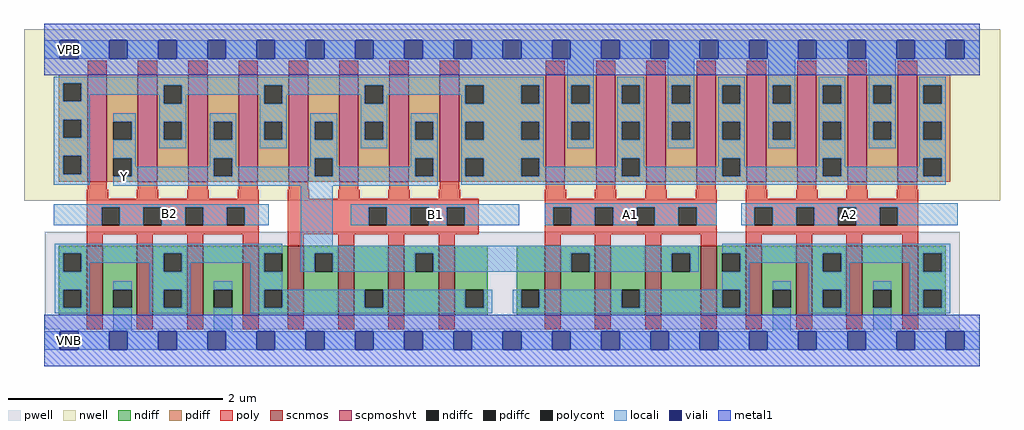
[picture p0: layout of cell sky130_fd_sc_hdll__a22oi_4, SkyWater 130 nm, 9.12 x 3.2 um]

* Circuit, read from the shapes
.subckt sky130_fd_sc_hdll__a22oi_4 A1 A2 B1 B2 VGND VNB VPB VPWR Y
XM1 VGND B2 n1 VNB sky130_fd_pr__nfet_01v8 w=0.65 l=0.15 m=4
XM2 Y B1 n1 VNB sky130_fd_pr__nfet_01v8 w=0.65 l=0.15 m=4
XM3 Y A1 n2 VNB sky130_fd_pr__nfet_01v8 w=0.65 l=0.15 m=4
XM4 VGND A2 n2 VNB sky130_fd_pr__nfet_01v8 w=0.65 l=0.15 m=4
XM5 Y B2 n3 VPB sky130_fd_pr__pfet_01v8_hvt w=1 l=0.18 m=4
XM6 Y B1 n3 VPB sky130_fd_pr__pfet_01v8_hvt w=1 l=0.18 m=4
XM7 VPWR A1 n3 VPB sky130_fd_pr__pfet_01v8_hvt w=1 l=0.18 m=4
XM8 VPWR A2 n3 VPB sky130_fd_pr__pfet_01v8_hvt w=1 l=0.18 m=4
.ends

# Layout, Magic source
magic
tech sky130A
magscale 1 2
<< nwell >>
rect -38 261 1786 582
<< pwell >>
rect 1 21 1711 203
rect 30 -17 64 21
<< scnmos >>
rect 79 47 109 177
rect 173 47 203 177
rect 267 47 297 177
rect 371 47 401 177
rect 455 47 485 177
rect 549 47 579 177
rect 643 47 673 177
rect 737 47 767 177
rect 935 47 965 177
rect 1029 47 1059 177
rect 1123 47 1153 177
rect 1227 47 1257 177
rect 1311 47 1341 177
rect 1405 47 1435 177
rect 1499 47 1529 177
rect 1603 47 1633 177
<< scpmoshvt >>
rect 81 297 117 497
rect 175 297 211 497
rect 269 297 305 497
rect 363 297 399 497
rect 457 297 493 497
rect 551 297 587 497
rect 645 297 681 497
rect 739 297 775 497
rect 937 297 973 497
rect 1031 297 1067 497
rect 1125 297 1161 497
rect 1219 297 1255 497
rect 1313 297 1349 497
rect 1407 297 1443 497
rect 1501 297 1537 497
rect 1595 297 1631 497
<< ndiff >>
rect 27 163 79 177
rect 27 129 35 163
rect 69 129 79 163
rect 27 95 79 129
rect 27 61 35 95
rect 69 61 79 95
rect 27 47 79 61
rect 109 95 173 177
rect 109 61 129 95
rect 163 61 173 95
rect 109 47 173 61
rect 203 163 267 177
rect 203 129 223 163
rect 257 129 267 163
rect 203 95 267 129
rect 203 61 223 95
rect 257 61 267 95
rect 203 47 267 61
rect 297 95 371 177
rect 297 61 317 95
rect 351 61 371 95
rect 297 47 371 61
rect 401 163 455 177
rect 401 129 411 163
rect 445 129 455 163
rect 401 95 455 129
rect 401 61 411 95
rect 445 61 455 95
rect 401 47 455 61
rect 485 163 549 177
rect 485 129 505 163
rect 539 129 549 163
rect 485 47 549 129
rect 579 95 643 177
rect 579 61 599 95
rect 633 61 643 95
rect 579 47 643 61
rect 673 163 737 177
rect 673 129 693 163
rect 727 129 737 163
rect 673 47 737 129
rect 767 95 829 177
rect 767 61 787 95
rect 821 61 829 95
rect 767 47 829 61
rect 883 95 935 177
rect 883 61 891 95
rect 925 61 935 95
rect 883 47 935 61
rect 965 163 1029 177
rect 965 129 985 163
rect 1019 129 1029 163
rect 965 47 1029 129
rect 1059 95 1123 177
rect 1059 61 1079 95
rect 1113 61 1123 95
rect 1059 47 1123 61
rect 1153 163 1227 177
rect 1153 129 1173 163
rect 1207 129 1227 163
rect 1153 47 1227 129
rect 1257 163 1311 177
rect 1257 129 1267 163
rect 1301 129 1311 163
rect 1257 95 1311 129
rect 1257 61 1267 95
rect 1301 61 1311 95
rect 1257 47 1311 61
rect 1341 95 1405 177
rect 1341 61 1361 95
rect 1395 61 1405 95
rect 1341 47 1405 61
rect 1435 163 1499 177
rect 1435 129 1455 163
rect 1489 129 1499 163
rect 1435 95 1499 129
rect 1435 61 1455 95
rect 1489 61 1499 95
rect 1435 47 1499 61
rect 1529 95 1603 177
rect 1529 61 1549 95
rect 1583 61 1603 95
rect 1529 47 1603 61
rect 1633 163 1685 177
rect 1633 129 1643 163
rect 1677 129 1685 163
rect 1633 95 1685 129
rect 1633 61 1643 95
rect 1677 61 1685 95
rect 1633 47 1685 61
<< pdiff >>
rect 27 481 81 497
rect 27 447 35 481
rect 69 447 81 481
rect 27 413 81 447
rect 27 379 35 413
rect 69 379 81 413
rect 27 345 81 379
rect 27 311 35 345
rect 69 311 81 345
rect 27 297 81 311
rect 117 409 175 497
rect 117 375 129 409
rect 163 375 175 409
rect 117 341 175 375
rect 117 307 129 341
rect 163 307 175 341
rect 117 297 175 307
rect 211 477 269 497
rect 211 443 223 477
rect 257 443 269 477
rect 211 409 269 443
rect 211 375 223 409
rect 257 375 269 409
rect 211 297 269 375
rect 305 409 363 497
rect 305 375 317 409
rect 351 375 363 409
rect 305 341 363 375
rect 305 307 317 341
rect 351 307 363 341
rect 305 297 363 307
rect 399 477 457 497
rect 399 443 411 477
rect 445 443 457 477
rect 399 409 457 443
rect 399 375 411 409
rect 445 375 457 409
rect 399 297 457 375
rect 493 409 551 497
rect 493 375 505 409
rect 539 375 551 409
rect 493 341 551 375
rect 493 307 505 341
rect 539 307 551 341
rect 493 297 551 307
rect 587 477 645 497
rect 587 443 599 477
rect 633 443 645 477
rect 587 409 645 443
rect 587 375 599 409
rect 633 375 645 409
rect 587 297 645 375
rect 681 409 739 497
rect 681 375 693 409
rect 727 375 739 409
rect 681 341 739 375
rect 681 307 693 341
rect 727 307 739 341
rect 681 297 739 307
rect 775 477 937 497
rect 775 443 787 477
rect 821 443 891 477
rect 925 443 937 477
rect 775 409 937 443
rect 775 375 787 409
rect 821 375 891 409
rect 925 375 937 409
rect 775 341 937 375
rect 775 307 787 341
rect 821 307 891 341
rect 925 307 937 341
rect 775 297 937 307
rect 973 477 1031 497
rect 973 443 985 477
rect 1019 443 1031 477
rect 973 409 1031 443
rect 973 375 985 409
rect 1019 375 1031 409
rect 973 297 1031 375
rect 1067 477 1125 497
rect 1067 443 1079 477
rect 1113 443 1125 477
rect 1067 409 1125 443
rect 1067 375 1079 409
rect 1113 375 1125 409
rect 1067 341 1125 375
rect 1067 307 1079 341
rect 1113 307 1125 341
rect 1067 297 1125 307
rect 1161 477 1219 497
rect 1161 443 1173 477
rect 1207 443 1219 477
rect 1161 409 1219 443
rect 1161 375 1173 409
rect 1207 375 1219 409
rect 1161 297 1219 375
rect 1255 477 1313 497
rect 1255 443 1267 477
rect 1301 443 1313 477
rect 1255 409 1313 443
rect 1255 375 1267 409
rect 1301 375 1313 409
rect 1255 341 1313 375
rect 1255 307 1267 341
rect 1301 307 1313 341
rect 1255 297 1313 307
rect 1349 477 1407 497
rect 1349 443 1361 477
rect 1395 443 1407 477
rect 1349 409 1407 443
rect 1349 375 1361 409
rect 1395 375 1407 409
rect 1349 297 1407 375
rect 1443 477 1501 497
rect 1443 443 1455 477
rect 1489 443 1501 477
rect 1443 409 1501 443
rect 1443 375 1455 409
rect 1489 375 1501 409
rect 1443 341 1501 375
rect 1443 307 1455 341
rect 1489 307 1501 341
rect 1443 297 1501 307
rect 1537 477 1595 497
rect 1537 443 1549 477
rect 1583 443 1595 477
rect 1537 409 1595 443
rect 1537 375 1549 409
rect 1583 375 1595 409
rect 1537 297 1595 375
rect 1631 477 1693 497
rect 1631 443 1643 477
rect 1677 443 1693 477
rect 1631 409 1693 443
rect 1631 375 1643 409
rect 1677 375 1693 409
rect 1631 341 1693 375
rect 1631 307 1643 341
rect 1677 307 1693 341
rect 1631 297 1693 307
<< ndiffc >>
rect 35 129 69 163
rect 35 61 69 95
rect 129 61 163 95
rect 223 129 257 163
rect 223 61 257 95
rect 317 61 351 95
rect 411 129 445 163
rect 411 61 445 95
rect 505 129 539 163
rect 599 61 633 95
rect 693 129 727 163
rect 787 61 821 95
rect 891 61 925 95
rect 985 129 1019 163
rect 1079 61 1113 95
rect 1173 129 1207 163
rect 1267 129 1301 163
rect 1267 61 1301 95
rect 1361 61 1395 95
rect 1455 129 1489 163
rect 1455 61 1489 95
rect 1549 61 1583 95
rect 1643 129 1677 163
rect 1643 61 1677 95
<< pdiffc >>
rect 35 447 69 481
rect 35 379 69 413
rect 35 311 69 345
rect 129 375 163 409
rect 129 307 163 341
rect 223 443 257 477
rect 223 375 257 409
rect 317 375 351 409
rect 317 307 351 341
rect 411 443 445 477
rect 411 375 445 409
rect 505 375 539 409
rect 505 307 539 341
rect 599 443 633 477
rect 599 375 633 409
rect 693 375 727 409
rect 693 307 727 341
rect 787 443 821 477
rect 891 443 925 477
rect 787 375 821 409
rect 891 375 925 409
rect 787 307 821 341
rect 891 307 925 341
rect 985 443 1019 477
rect 985 375 1019 409
rect 1079 443 1113 477
rect 1079 375 1113 409
rect 1079 307 1113 341
rect 1173 443 1207 477
rect 1173 375 1207 409
rect 1267 443 1301 477
rect 1267 375 1301 409
rect 1267 307 1301 341
rect 1361 443 1395 477
rect 1361 375 1395 409
rect 1455 443 1489 477
rect 1455 375 1489 409
rect 1455 307 1489 341
rect 1549 443 1583 477
rect 1549 375 1583 409
rect 1643 443 1677 477
rect 1643 375 1677 409
rect 1643 307 1677 341
<< poly >>
rect 81 497 117 523
rect 175 497 211 523
rect 269 497 305 523
rect 363 497 399 523
rect 457 497 493 523
rect 551 497 587 523
rect 645 497 681 523
rect 739 497 775 523
rect 937 497 973 523
rect 1031 497 1067 523
rect 1125 497 1161 523
rect 1219 497 1255 523
rect 1313 497 1349 523
rect 1407 497 1443 523
rect 1501 497 1537 523
rect 1595 497 1631 523
rect 81 282 117 297
rect 175 282 211 297
rect 269 282 305 297
rect 363 282 399 297
rect 457 282 493 297
rect 551 282 587 297
rect 645 282 681 297
rect 739 282 775 297
rect 937 282 973 297
rect 1031 282 1067 297
rect 1125 282 1161 297
rect 1219 282 1255 297
rect 1313 282 1349 297
rect 1407 282 1443 297
rect 1501 282 1537 297
rect 1595 282 1631 297
rect 79 265 119 282
rect 173 265 213 282
rect 267 265 307 282
rect 361 265 401 282
rect 79 249 401 265
rect 79 215 107 249
rect 141 215 185 249
rect 219 215 263 249
rect 297 215 341 249
rect 375 215 401 249
rect 79 199 401 215
rect 79 177 109 199
rect 173 177 203 199
rect 267 177 297 199
rect 371 177 401 199
rect 455 265 495 282
rect 549 265 589 282
rect 643 265 683 282
rect 737 265 777 282
rect 935 265 975 282
rect 1029 265 1069 282
rect 1123 265 1163 282
rect 1217 265 1257 282
rect 455 249 812 265
rect 455 215 606 249
rect 640 215 684 249
rect 718 215 752 249
rect 786 215 812 249
rect 455 199 812 215
rect 935 249 1257 265
rect 935 215 951 249
rect 985 215 1029 249
rect 1063 215 1107 249
rect 1141 215 1185 249
rect 1219 215 1257 249
rect 935 199 1257 215
rect 455 177 485 199
rect 549 177 579 199
rect 643 177 673 199
rect 737 177 767 199
rect 935 177 965 199
rect 1029 177 1059 199
rect 1123 177 1153 199
rect 1227 177 1257 199
rect 1311 265 1351 282
rect 1405 265 1445 282
rect 1499 265 1539 282
rect 1593 265 1633 282
rect 1311 249 1633 265
rect 1311 215 1327 249
rect 1361 215 1405 249
rect 1439 215 1483 249
rect 1517 215 1561 249
rect 1595 215 1633 249
rect 1311 199 1633 215
rect 1311 177 1341 199
rect 1405 177 1435 199
rect 1499 177 1529 199
rect 1603 177 1633 199
rect 79 21 109 47
rect 173 21 203 47
rect 267 21 297 47
rect 371 21 401 47
rect 455 21 485 47
rect 549 21 579 47
rect 643 21 673 47
rect 737 21 767 47
rect 935 21 965 47
rect 1029 21 1059 47
rect 1123 21 1153 47
rect 1227 21 1257 47
rect 1311 21 1341 47
rect 1405 21 1435 47
rect 1499 21 1529 47
rect 1603 21 1633 47
<< polycont >>
rect 107 215 141 249
rect 185 215 219 249
rect 263 215 297 249
rect 341 215 375 249
rect 606 215 640 249
rect 684 215 718 249
rect 752 215 786 249
rect 951 215 985 249
rect 1029 215 1063 249
rect 1107 215 1141 249
rect 1185 215 1219 249
rect 1327 215 1361 249
rect 1405 215 1439 249
rect 1483 215 1517 249
rect 1561 215 1595 249
<< locali >>
rect 0 527 29 561
rect 63 527 121 561
rect 155 527 213 561
rect 247 527 305 561
rect 339 527 397 561
rect 431 527 489 561
rect 523 527 581 561
rect 615 527 673 561
rect 707 527 765 561
rect 799 527 857 561
rect 891 527 949 561
rect 983 527 1041 561
rect 1075 527 1133 561
rect 1167 527 1225 561
rect 1259 527 1317 561
rect 1351 527 1409 561
rect 1443 527 1501 561
rect 1535 527 1593 561
rect 1627 527 1685 561
rect 1719 527 1748 561
rect 18 481 933 493
rect 18 447 35 481
rect 69 477 933 481
rect 69 459 223 477
rect 69 447 85 459
rect 18 413 85 447
rect 215 443 223 459
rect 257 459 411 477
rect 257 443 265 459
rect 18 379 35 413
rect 69 379 85 413
rect 18 345 85 379
rect 18 311 35 345
rect 69 311 85 345
rect 18 291 85 311
rect 129 409 171 425
rect 163 375 171 409
rect 129 341 171 375
rect 215 409 265 443
rect 403 443 411 459
rect 445 459 599 477
rect 445 443 453 459
rect 215 375 223 409
rect 257 375 265 409
rect 215 359 265 375
rect 309 409 359 425
rect 309 375 317 409
rect 351 375 359 409
rect 163 325 171 341
rect 309 341 359 375
rect 403 409 453 443
rect 591 443 599 459
rect 633 459 787 477
rect 633 443 641 459
rect 403 375 411 409
rect 445 375 453 409
rect 403 359 453 375
rect 497 409 547 425
rect 497 375 505 409
rect 539 375 547 409
rect 309 325 317 341
rect 163 307 317 325
rect 351 325 359 341
rect 497 341 547 375
rect 591 409 641 443
rect 779 443 787 459
rect 821 443 891 477
rect 925 443 933 477
rect 591 375 599 409
rect 633 375 641 409
rect 591 359 641 375
rect 685 409 735 425
rect 685 375 693 409
rect 727 375 735 409
rect 497 325 505 341
rect 351 307 505 325
rect 539 325 547 341
rect 685 341 735 375
rect 685 325 693 341
rect 539 307 693 325
rect 727 307 735 341
rect 129 289 735 307
rect 779 409 933 443
rect 779 375 787 409
rect 821 375 891 409
rect 925 375 933 409
rect 779 341 933 375
rect 977 477 1027 527
rect 977 443 985 477
rect 1019 443 1027 477
rect 977 409 1027 443
rect 977 375 985 409
rect 1019 375 1027 409
rect 977 359 1027 375
rect 1071 477 1121 493
rect 1071 443 1079 477
rect 1113 443 1121 477
rect 1071 409 1121 443
rect 1071 375 1079 409
rect 1113 375 1121 409
rect 779 307 787 341
rect 821 307 891 341
rect 925 325 933 341
rect 1071 341 1121 375
rect 1165 477 1215 527
rect 1165 443 1173 477
rect 1207 443 1215 477
rect 1165 409 1215 443
rect 1165 375 1173 409
rect 1207 375 1215 409
rect 1165 359 1215 375
rect 1259 477 1309 493
rect 1259 443 1267 477
rect 1301 443 1309 477
rect 1259 409 1309 443
rect 1259 375 1267 409
rect 1301 375 1309 409
rect 1071 325 1079 341
rect 925 307 1079 325
rect 1113 325 1121 341
rect 1259 341 1309 375
rect 1353 477 1403 527
rect 1353 443 1361 477
rect 1395 443 1403 477
rect 1353 409 1403 443
rect 1353 375 1361 409
rect 1395 375 1403 409
rect 1353 359 1403 375
rect 1447 477 1497 493
rect 1447 443 1455 477
rect 1489 443 1497 477
rect 1447 409 1497 443
rect 1447 375 1455 409
rect 1489 375 1497 409
rect 1259 325 1267 341
rect 1113 307 1267 325
rect 1301 325 1309 341
rect 1447 341 1497 375
rect 1541 477 1591 527
rect 1541 443 1549 477
rect 1583 443 1591 477
rect 1541 409 1591 443
rect 1541 375 1549 409
rect 1583 375 1591 409
rect 1541 359 1591 375
rect 1635 477 1685 493
rect 1635 443 1643 477
rect 1677 443 1685 477
rect 1635 409 1685 443
rect 1635 375 1643 409
rect 1677 375 1685 409
rect 1447 325 1455 341
rect 1301 307 1455 325
rect 1489 325 1497 341
rect 1635 341 1685 375
rect 1635 325 1643 341
rect 1489 307 1643 325
rect 1677 307 1685 341
rect 779 291 1685 307
rect 18 249 419 255
rect 18 215 107 249
rect 141 215 185 249
rect 219 215 263 249
rect 297 215 341 249
rect 375 215 419 249
rect 19 163 445 181
rect 19 129 35 163
rect 69 145 223 163
rect 69 129 85 145
rect 19 95 85 129
rect 197 129 223 145
rect 257 145 411 163
rect 257 129 273 145
rect 19 61 35 95
rect 69 61 85 95
rect 19 51 85 61
rect 129 95 163 111
rect 129 17 163 61
rect 197 95 273 129
rect 385 129 411 145
rect 479 177 539 289
rect 573 249 888 255
rect 573 215 606 249
rect 640 215 684 249
rect 718 215 752 249
rect 786 215 888 249
rect 935 249 1257 257
rect 935 215 951 249
rect 985 215 1029 249
rect 1063 215 1107 249
rect 1141 215 1185 249
rect 1219 215 1257 249
rect 1302 249 1707 257
rect 1302 215 1327 249
rect 1361 215 1405 249
rect 1439 215 1483 249
rect 1517 215 1561 249
rect 1595 215 1707 249
rect 479 163 1223 177
rect 479 129 505 163
rect 539 129 693 163
rect 727 129 985 163
rect 1019 129 1173 163
rect 1207 129 1223 163
rect 1267 163 1693 181
rect 1301 145 1455 163
rect 1301 129 1317 145
rect 197 61 223 95
rect 257 61 273 95
rect 197 51 273 61
rect 317 95 351 111
rect 317 17 351 61
rect 385 95 445 129
rect 1267 95 1317 129
rect 1429 129 1455 145
rect 1489 145 1643 163
rect 1489 129 1505 145
rect 385 61 411 95
rect 445 61 599 95
rect 633 61 787 95
rect 821 61 837 95
rect 385 51 837 61
rect 875 61 891 95
rect 925 61 1079 95
rect 1113 61 1267 95
rect 1301 61 1317 95
rect 875 51 1317 61
rect 1361 95 1395 111
rect 1361 17 1395 61
rect 1429 95 1505 129
rect 1617 129 1643 145
rect 1677 129 1693 163
rect 1429 61 1455 95
rect 1489 61 1505 95
rect 1429 51 1505 61
rect 1549 95 1583 111
rect 1549 17 1583 61
rect 1617 95 1693 129
rect 1617 61 1643 95
rect 1677 61 1693 95
rect 1617 51 1693 61
rect 0 -17 29 17
rect 63 -17 121 17
rect 155 -17 213 17
rect 247 -17 305 17
rect 339 -17 397 17
rect 431 -17 489 17
rect 523 -17 581 17
rect 615 -17 673 17
rect 707 -17 765 17
rect 799 -17 857 17
rect 891 -17 949 17
rect 983 -17 1041 17
rect 1075 -17 1133 17
rect 1167 -17 1225 17
rect 1259 -17 1317 17
rect 1351 -17 1409 17
rect 1443 -17 1501 17
rect 1535 -17 1593 17
rect 1627 -17 1685 17
rect 1719 -17 1748 17
<< viali >>
rect 29 527 63 561
rect 121 527 155 561
rect 213 527 247 561
rect 305 527 339 561
rect 397 527 431 561
rect 489 527 523 561
rect 581 527 615 561
rect 673 527 707 561
rect 765 527 799 561
rect 857 527 891 561
rect 949 527 983 561
rect 1041 527 1075 561
rect 1133 527 1167 561
rect 1225 527 1259 561
rect 1317 527 1351 561
rect 1409 527 1443 561
rect 1501 527 1535 561
rect 1593 527 1627 561
rect 1685 527 1719 561
rect 29 -17 63 17
rect 121 -17 155 17
rect 213 -17 247 17
rect 305 -17 339 17
rect 397 -17 431 17
rect 489 -17 523 17
rect 581 -17 615 17
rect 673 -17 707 17
rect 765 -17 799 17
rect 857 -17 891 17
rect 949 -17 983 17
rect 1041 -17 1075 17
rect 1133 -17 1167 17
rect 1225 -17 1259 17
rect 1317 -17 1351 17
rect 1409 -17 1443 17
rect 1501 -17 1535 17
rect 1593 -17 1627 17
rect 1685 -17 1719 17
<< metal1 >>
rect 0 561 1748 592
rect 0 527 29 561
rect 63 527 121 561
rect 155 527 213 561
rect 247 527 305 561
rect 339 527 397 561
rect 431 527 489 561
rect 523 527 581 561
rect 615 527 673 561
rect 707 527 765 561
rect 799 527 857 561
rect 891 527 949 561
rect 983 527 1041 561
rect 1075 527 1133 561
rect 1167 527 1225 561
rect 1259 527 1317 561
rect 1351 527 1409 561
rect 1443 527 1501 561
rect 1535 527 1593 561
rect 1627 527 1685 561
rect 1719 527 1748 561
rect 0 496 1748 527
rect 0 17 1748 48
rect 0 -17 29 17
rect 63 -17 121 17
rect 155 -17 213 17
rect 247 -17 305 17
rect 339 -17 397 17
rect 431 -17 489 17
rect 523 -17 581 17
rect 615 -17 673 17
rect 707 -17 765 17
rect 799 -17 857 17
rect 891 -17 949 17
rect 983 -17 1041 17
rect 1075 -17 1133 17
rect 1167 -17 1225 17
rect 1259 -17 1317 17
rect 1351 -17 1409 17
rect 1443 -17 1501 17
rect 1535 -17 1593 17
rect 1627 -17 1685 17
rect 1719 -17 1748 17
rect 0 -48 1748 -17
<< labels >>
flabel locali s 1302 215 1707 257 0 FreeSans 400 0 0 0 A2
port 2 nsew signal input
flabel locali s 217 221 251 255 0 FreeSans 400 180 0 0 B2
port 4 nsew signal input
flabel locali s 935 215 1257 257 0 FreeSans 400 0 0 0 A1
port 1 nsew signal input
flabel locali s 573 215 888 255 0 FreeSans 400 180 0 0 B1
port 3 nsew signal input
flabel locali s 132 289 166 323 0 FreeSans 400 180 0 0 Y
port 9 nsew signal output
flabel pwell s 30 -17 64 17 0 FreeSans 200 0 0 0 VNB
port 6 nsew ground bidirectional
flabel nwell s 30 527 64 561 0 FreeSans 200 0 0 0 VPB
port 7 nsew power bidirectional
flabel metal1 s 30 -17 64 17 0 FreeSans 200 0 0 0 VGND
port 5 nsew ground bidirectional
flabel metal1 s 30 527 64 561 0 FreeSans 200 0 0 0 VPWR
port 8 nsew power bidirectional
<< properties >>
string LEFsite unithd
string LEFclass CORE
string FIXED_BBOX 0 0 1748 544
string GDS_FILE $PDKPATH/libs.ref/sky130_fd_sc_hdll/gds/sky130_fd_sc_hdll.gds
string LEFsymmetry X Y R90
string GDS_END 661530
string GDS_START 648812
string LEFproperties maskLayoutSubType "abstract" prCellType "standard" originalViewName "layout"
<< end >>
